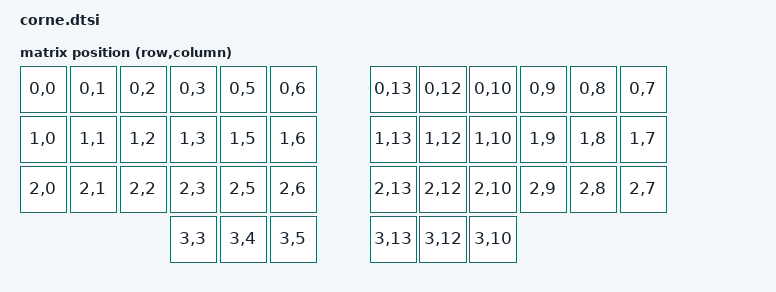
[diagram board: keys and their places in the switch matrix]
#include <dt-bindings/zmk/matrix_transform.h>
#include <zephyr/dt-bindings/input/input-event-codes.h>
#include <physical_layouts.dtsi>

/ {

    default_transform: keymap_transform_0 {
        compatible = "zmk,matrix-transform";
        columns = <14>;
        rows = <4>;
        map = <
        RC(0,0) RC(0,1) RC(0,2) RC(0,3)  RC(0,5)  RC(0,6)             RC(0,13) RC(0,12) RC(0,10) RC(0,9) RC(0,8) RC(0,7)
        RC(1,0) RC(1,1) RC(1,2) RC(1,3)  RC(1,5)  RC(1,6)             RC(1,13) RC(1,12) RC(1,10) RC(1,9) RC(1,8) RC(1,7)
        RC(2,0) RC(2,1) RC(2,2) RC(2,3)  RC(2,5)  RC(2,6)             RC(2,13) RC(2,12) RC(2,10) RC(2,9) RC(2,8) RC(2,7)
                                RC(3,3)  RC(3,4)  RC(3,5)             RC(3,13) RC(3,12) RC(3,10)
        >;
    };

    kscan0: kscan {
        compatible = "zmk,kscan-gpio-matrix";
        wakeup-source;
        diode-direction = "col2row";
    };

    behaviors {
        hw_soft_off: hw_soft_off {
            compatible = "zmk,behavior-soft-off";
            #binding-cells = <0>;
            split-peripheral-off-on-press; // Turn peripheral off immediately for reliability
            hold-time-ms = <1000>; // Only turn off if the key is held for 2 seconds or longer.
        };
    };

    physical_layout0: physical_layout_0 {
        compatible = "zmk,physical-layout";
        display-name = "Default";

        kscan = <&kscan0>;
        transform = <&default_transform>;

        keys  //                     w   h    x    y     rot    rx    ry
            = <&key_physical_attrs 100 100    0   60       0     0     0>
            , <&key_physical_attrs 100 100  100   60       0     0     0>
            , <&key_physical_attrs 100 100  200   30       0     0     0>
            , <&key_physical_attrs 100 100  300    0       0     0     0>
            , <&key_physical_attrs 100 100  400   30       0     0     0>
            , <&key_physical_attrs 100 100  500   50       0     0     0>
            , <&key_physical_attrs 100 100  800   50       0     0     0>
            , <&key_physical_attrs 100 100  900   30       0     0     0>
            , <&key_physical_attrs 100 100 1000    0       0     0     0>
            , <&key_physical_attrs 100 100 1100   30       0     0     0>
            , <&key_physical_attrs 100 100 1200   60       0     0     0>
            , <&key_physical_attrs 100 100 1300   60       0     0     0>
            , <&key_physical_attrs 100 100    0  160       0     0     0>
            , <&key_physical_attrs 100 100  100  160       0     0     0>
            , <&key_physical_attrs 100 100  200  130       0     0     0>
            , <&key_physical_attrs 100 100  300  100       0     0     0>
            , <&key_physical_attrs 100 100  400  130       0     0     0>
            , <&key_physical_attrs 100 100  500  150       0     0     0>
            , <&key_physical_attrs 100 100  800  150       0     0     0>
            , <&key_physical_attrs 100 100  900  130       0     0     0>
            , <&key_physical_attrs 100 100 1000  100       0     0     0>
            , <&key_physical_attrs 100 100 1100  130       0     0     0>
            , <&key_physical_attrs 100 100 1200  160       0     0     0>
            , <&key_physical_attrs 100 100 1300  160       0     0     0>
            , <&key_physical_attrs 100 100    0  260       0     0     0>
            , <&key_physical_attrs 100 100  100  260       0     0     0>
            , <&key_physical_attrs 100 100  200  230       0     0     0>
            , <&key_physical_attrs 100 100  300  200       0     0     0>
            , <&key_physical_attrs 100 100  400  230       0     0     0>
            , <&key_physical_attrs 100 100  500  250       0     0     0>
            , <&key_physical_attrs 100 100  800  250       0     0     0>
            , <&key_physical_attrs 100 100  900  230       0     0     0>
            , <&key_physical_attrs 100 100 1000  200       0     0     0>
            , <&key_physical_attrs 100 100 1100  230       0     0     0>
            , <&key_physical_attrs 100 100 1200  260       0     0     0>
            , <&key_physical_attrs 100 100 1300  260       0     0     0>
            , <&key_physical_attrs 100 100    0  360       0     0     0>
            , <&key_physical_attrs 100 100  100  360       0     0     0>
            , <&key_physical_attrs 100 100  200  330       0     0     0>
            , <&key_physical_attrs 100 100  300  300       0     0     0>
            , <&key_physical_attrs 100 100  400  330       0     0     0>
            , <&key_physical_attrs 100 100  500  350       0     0     0>
            , <&key_physical_attrs 100 100  800  350       0     0     0>
            , <&key_physical_attrs 100 100  900  330       0     0     0>
            , <&key_physical_attrs 100 100 1000  300       0     0     0>
            , <&key_physical_attrs 100 100 1100  330       0     0     0>
            , <&key_physical_attrs 100 100 1200  360       0     0     0>
            , <&key_physical_attrs 100 100 1300  360       0     0     0>
            , <&key_physical_attrs 100 100  350  460       0     0     0>
            , <&key_physical_attrs 100 100  450  470       0     0     0>
            , <&key_physical_attrs 100 100  550  520    3000   600   570>
            , <&key_physical_attrs 100 100  600  430    3000   650   480>
            , <&key_physical_attrs 100 100  700  430 (-3000)   750   480>
            , <&key_physical_attrs 100 100  750  520 (-3000)   800   570>
            , <&key_physical_attrs 100 100  850  470       0     0     0>
            , <&key_physical_attrs 100 100  950  460       0     0     0>
            ;
    };

};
